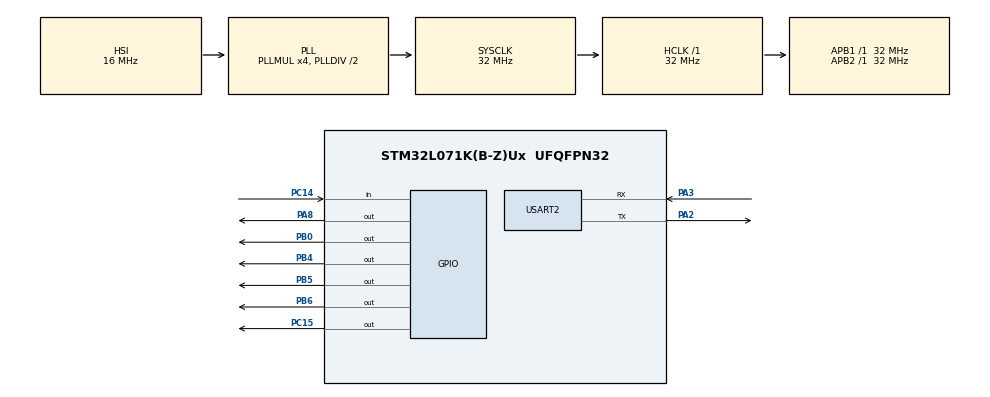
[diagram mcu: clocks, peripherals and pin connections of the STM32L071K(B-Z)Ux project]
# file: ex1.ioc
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Mcu.Family=STM32L0
Mcu.Name=STM32L071K(B-Z)Ux
Mcu.Package=UFQFPN32
NVIC.TIM2_IRQn=true\:0\:0\:false\:false\:true\:true\:true
NVIC.TIM6_IRQn=true\:0\:0\:false\:false\:true\:true\:true
NVIC.TIM7_IRQn=true\:0\:0\:false\:false\:true\:true\:true
PA13.Mode=Serial_Wire
PA13.Signal=SYS_SWDIO
PA14.Mode=Serial_Wire
PA14.Signal=SYS_SWCLK
PA2.Mode=Asynchronous
PA2.Signal=USART2_TX
PA3.Mode=Asynchronous
PA3.Signal=USART2_RX
PA8.Signal=GPIO_Output
PB0.Signal=GPIO_Output
PB4.Signal=GPIO_Output
PB5.Signal=GPIO_Output
PB6.Signal=GPIO_Output
PC14-OSC32_IN.Signal=GPIO_Input
PC15-OSC32_OUT.Signal=GPIO_Output
ProjectManager.HeapSize=0x200
ProjectManager.StackSize=0x400
ProjectManager.TargetToolchain=MDK-ARM V5
RCC.AHBFreq_Value=32000000
RCC.APB1Freq_Value=32000000
RCC.APB1TimFreq_Value=32000000
RCC.APB2Freq_Value=32000000
RCC.APB2TimFreq_Value=32000000
RCC.HCLKFreq_Value=32000000
RCC.HSI16_VALUE=16000000
RCC.HSI_VALUE=16000000
RCC.LSE_VALUE=32768
RCC.MSI_VALUE=2097000
RCC.PLLMUL=RCC_PLLMUL_4
RCC.SYSCLKFreq_VALUE=32000000
RCC.SYSCLKSource=RCC_SYSCLKSOURCE_PLLCLK
RCC.VCOOutputFreq_Value=64000000
TIM2.Period=999
TIM2.Prescaler=31
TIM6.AutoReloadPreload=TIM_AUTORELOAD_PRELOAD_ENABLE
TIM6.Period=999
TIM6.Prescaler=31
TIM7.Period=999
TIM7.Prescaler=31
USART2.VirtualMode-Asynchronous=VM_ASYNC
VP_TIM2_VS_ClockSourceINT.Mode=Internal
VP_TIM6_VS_ClockSourceINT.Mode=Enable_Timer
VP_TIM7_VS_ClockSourceINT.Mode=Enable_Timer
board=custom

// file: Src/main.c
/* USER CODE BEGIN Header */
/**
  ******************************************************************************
  * @file           : main.c
  * @brief          : Main program body
  ******************************************************************************
  * @attention
  *
  * <h2><center>&copy; Copyright (c) 2019 STMicroelectronics.
  * All rights reserved.</center></h2>
  *
  * This software component is licensed by ST under BSD 3-Clause license,
  * the "License"; You may not use this file except in compliance with the
  * License. You may obtain a copy of the License at:
  *                        opensource.org/licenses/BSD-3-Clause
  *
  ******************************************************************************
  */
/* USER CODE END Header */

#include "main.h"
#include "tim.h"
#include "usart.h"
#include "gpio.h"

/* USER CODE BEGIN Includes */
#include "key.h"
/* USER CODE END Includes */

/* USER CODE BEGIN PTD */
unsigned int time_i=0;
static unsigned int time_10ms;
/* USER CODE END PTD */

void SystemClock_Config(void);

/* USER CODE BEGIN 0 */
void Task_BrdInit(void)
{
    HAL_GPIO_WritePin(GPIOC, GPIO_PIN_15, GPIO_PIN_SET);

    OLED_PowerControl(ENABLE);

    HAL_Delay(200);
    OLED_Init();
    OLED_Clear();

    OLED_ShowString(0, 0, (unsigned char *)"                ", 16);
    OLED_ShowString(0, 2, (unsigned char *)"                ", 16);
}
/* USER CODE END 0 */

int main(void)
{
  /* USER CODE BEGIN 1 */
    char lcdLine_1st_line[16];
    char lcdLine_2st_line[16];

  /* USER CODE END 1 */

  /* MCU Configuration--------------------------------------------------------*/

  /* Reset of all peripherals, Initializes the Flash interface and the Systick. */
  HAL_Init();

  /* Configure the system clock */
  SystemClock_Config();

  /* Initialize all configured peripherals */
  MX_GPIO_Init();
  MX_TIM2_Init();
  MX_TIM6_Init();
  MX_TIM7_Init();
  MX_USART2_UART_Init();
  /* USER CODE BEGIN 2 */
    Task_BrdInit();
		HAL_TIM_Base_Start_IT(&htim2);
		HAL_TIM_Base_Start_IT(&htim6);
		HAL_TIM_Base_Start_IT(&htim7);
		HAL_UART_Transmit(&huart2,(unsigned char *)"123\r\n",3,100);
  /* USER CODE END 2 */

  /* Infinite loop */
    while (1)
    {

    /* USER CODE BEGIN 3 */
//			if(time_10ms==1)
//			{
//				Key_scan();
//			}
			Led_scan();

//			if(HAL_GPIO_ReadPin(GPIOC,GPIO_PIN_14)==0)
//			{
//				HAL_GPIO_TogglePin(GPIOC, GPIO_PIN_15);
//			}

//			sprintf(lcdLine_1st_line, "GXCT IOT");
//			sprintf(lcdLine_2st_line, "Hello World");

//			OLED_ShowString(0, 0, (unsigned char *)lcdLine_1st_line, 16);
//			OLED_ShowString(0, 2, (unsigned char *)lcdLine_2st_line, 16);
    }
  /* USER CODE END 3 */
}
/* USER CODE BEGIN 4 */
void HAL_TIM_PeriodElapsedCallback(TIM_HandleTypeDef *htim)
{
	if(htim->Instance==TIM6)
	{
		time_i++;
		if(time_i==99999)
			time_i=0;
		if(time_i%20==0)
				Key_scan();
//				time_10ms=!time_10ms;
//		if(time_i%1000==0)
//			HAL_GPIO_TogglePin(GPIOB, GPIO_PIN_0);
//			HAL_GPIO_TogglePin(GPIOC, GPIO_PIN_15);
	}
}
/* USER CODE END 4 */
void SystemClock_Config(void)
{
  RCC_OscInitTypeDef RCC_OscInitStruct = {0};
  RCC_ClkInitTypeDef RCC_ClkInitStruct = {0};
  RCC_PeriphCLKInitTypeDef PeriphClkInit = {0};

  /** Configure the main internal regulator output voltage
  */
  __HAL_PWR_VOLTAGESCALING_CONFIG(PWR_REGULATOR_VOLTAGE_SCALE1);
  /** Initializes the CPU, AHB and APB busses clocks
  */
  RCC_OscInitStruct.OscillatorType = RCC_OSCILLATORTYPE_HSI;
  RCC_OscInitStruct.HSIState = RCC_HSI_ON;
  RCC_OscInitStruct.HSICalibrationValue = RCC_HSICALIBRATION_DEFAULT;
  RCC_OscInitStruct.PLL.PLLState = RCC_PLL_ON;
  RCC_OscInitStruct.PLL.PLLSource = RCC_PLLSOURCE_HSI;
  RCC_OscInitStruct.PLL.PLLMUL = RCC_PLLMUL_4;
  RCC_OscInitStruct.PLL.PLLDIV = RCC_PLLDIV_2;
  if (HAL_RCC_OscConfig(&RCC_OscInitStruct) != HAL_OK)
  {
    Error_Handler();
  }
  /** Initializes the CPU, AHB and APB busses clocks
  */
  RCC_ClkInitStruct.ClockType = RCC_CLOCKTYPE_HCLK|RCC_CLOCKTYPE_SYSCLK
                              |RCC_CLOCKTYPE_PCLK1|RCC_CLOCKTYPE_PCLK2;
  RCC_ClkInitStruct.SYSCLKSource = RCC_SYSCLKSOURCE_PLLCLK;
  RCC_ClkInitStruct.AHBCLKDivider = RCC_SYSCLK_DIV1;
  RCC_ClkInitStruct.APB1CLKDivider = RCC_HCLK_DIV1;
  RCC_ClkInitStruct.APB2CLKDivider = RCC_HCLK_DIV1;

  if (HAL_RCC_ClockConfig(&RCC_ClkInitStruct, FLASH_LATENCY_1) != HAL_OK)
  {
    Error_Handler();
  }
  PeriphClkInit.PeriphClockSelection = RCC_PERIPHCLK_USART2;
  PeriphClkInit.Usart2ClockSelection = RCC_USART2CLKSOURCE_PCLK1;
  if (HAL_RCCEx_PeriphCLKConfig(&PeriphClkInit) != HAL_OK)
  {
    Error_Handler();
  }
}

void Error_Handler(void)
{
}

/************************ (C) COPYRIGHT STMicroelectronics *****END OF FILE****/
